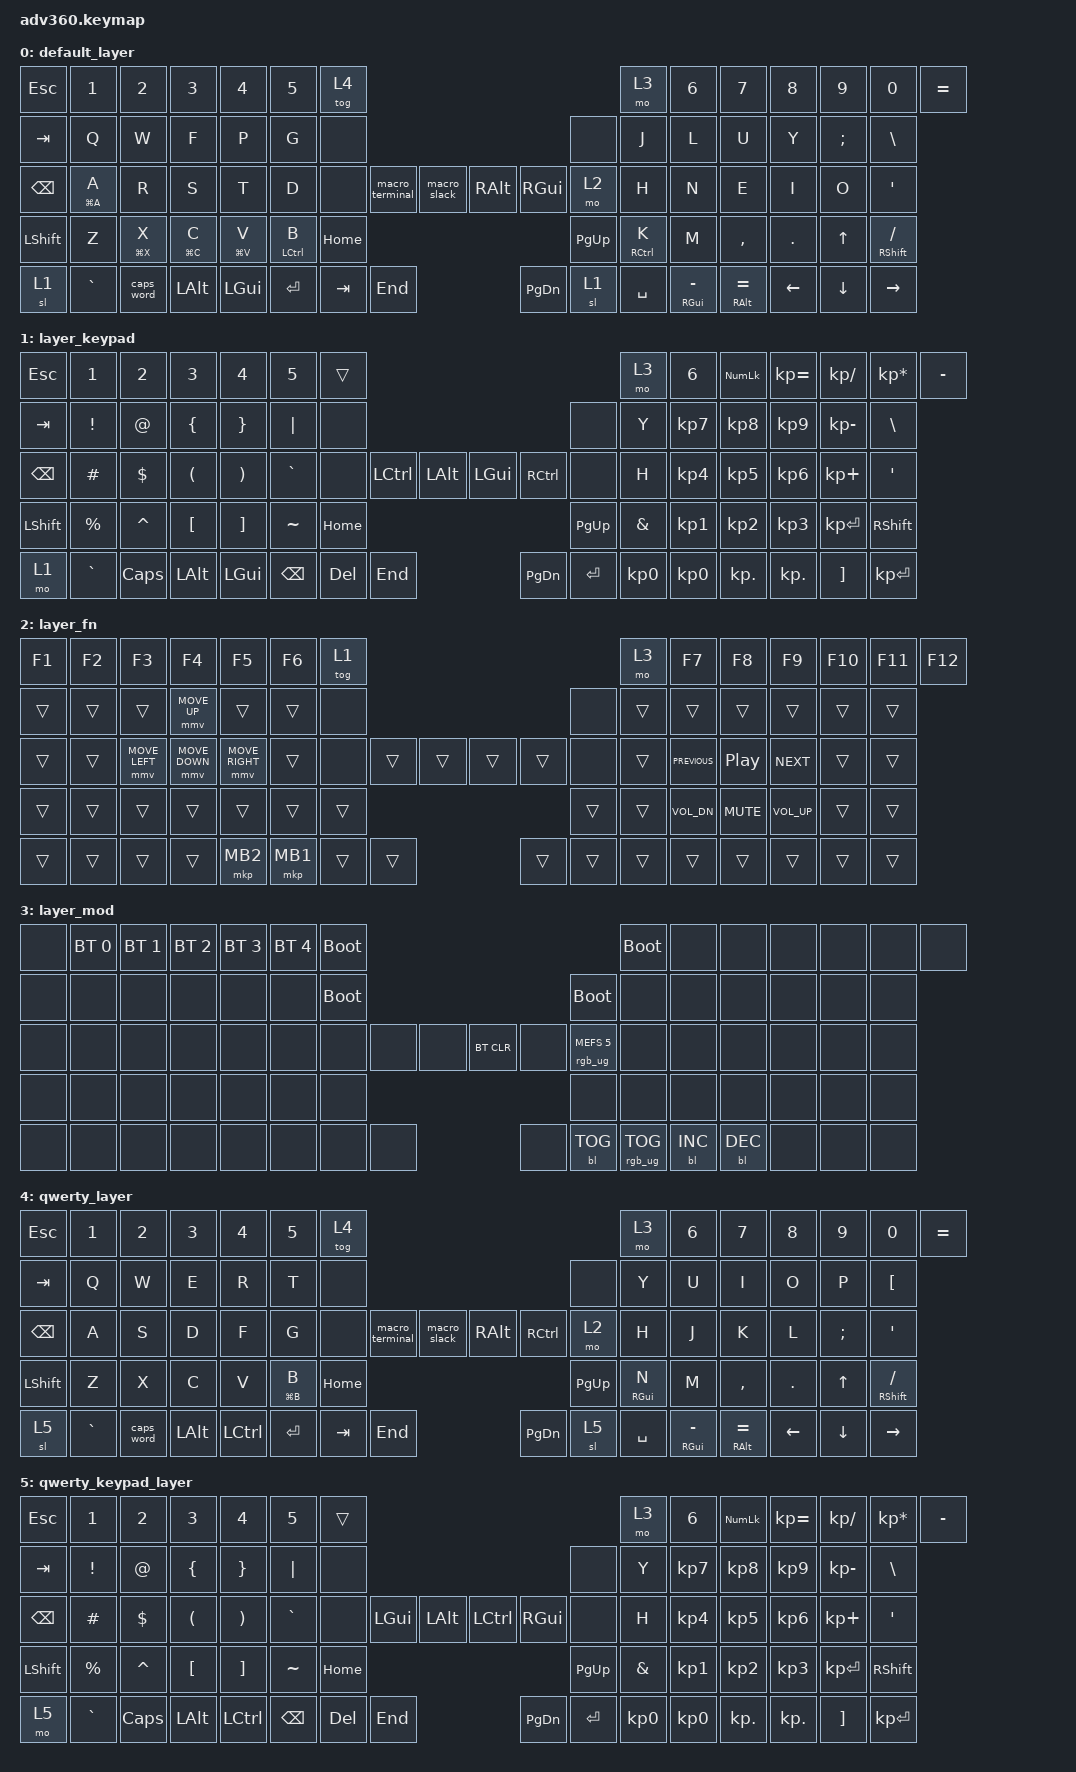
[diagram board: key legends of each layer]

/*
 * Copyright (c) 2020 The ZMK Contributors
 *
 * SPDX-License-Identifier: MIT
 */


/* THIS FILE WAS GENERATED!
 *
 * This file was generated automatically. You may or may not want to
 * edit it directly.
 */

#include <behaviors.dtsi>
#include <dt-bindings/zmk/keys.h>
#include <dt-bindings/zmk/bt.h>
#include <dt-bindings/zmk/rgb.h>
#define ZMK_POINTING_DEFAULT_MOVE_VAL 1200
#include <dt-bindings/zmk/stp.h>
#include <dt-bindings/zmk/backlight.h>
#include <dt-bindings/zmk/pointing.h>

/* Double the default cursor maximum speed with kinetic-style acceleration. */
&mmv {
    delay-ms = <0>;
    trigger-period-ms = <16>;
    time-to-max-speed-ms = <425>;
    acceleration-exponent = <2>;
};

/ {
  behaviors {
    #include "macros.dtsi"
    #include "version.dtsi"

    hm: homerow_mods {
        compatible = "zmk,behavior-hold-tap";
        label = "HOMEROW_MODS";
        #binding-cells = <2>;
        tapping-term-ms = <200>;
        quick_tap_ms = <175>;
        require-prior-idle-ms = <125>;
        flavor = "tap-preferred";
        bindings = <&kp>, <&kp>;
    };
    extra1 { 
      display-name = "Red";    
      status = "reserved";
    };

    extra2 { 
      display-name = "Purple";    
      status = "reserved";
    };

    extra3 { 
      display-name = "Cyan";    
      status = "reserved";
    };

    extra4 { 
      display-name = "Yellow";    
      status = "reserved";
    };
  };

    keymap {
        compatible = "zmk,keymap";


        default_layer {
            bindings = <
       &kp ESC       &kp N1       &kp N2        &kp N3        &kp N4       &kp N5               &tog 4                                                                                   &mo 3       &kp N6               &kp N7               &kp N8    &kp N9         &kp N0         &kp EQUAL
       &kp TAB        &kp Q        &kp W         &kp F         &kp P        &kp G                &none                                                                                   &none         &kp J                &kp L                &kp U     &kp Y  &kp SEMICOLON          &kp BSLH
 &kp BACKSPACE  &hm LG(A) A        &kp R         &kp S         &kp T        &kp D                &none  &macro_terminal  &macro_slack                  &kp RIGHT_ALT  &kp RIGHT_GUI      &mo 2        &kp H                &kp N                &kp E     &kp I          &kp O           &kp SQT
     &kp LSHFT        &kp Z  &hm LG(X) X   &hm LG(C) C   &hm LG(V) V  &hm LCTRL B                                            &kp HOME                      &kp PG_UP                            &mt RCTRL K                &kp M            &kp COMMA   &kp DOT         &kp UP  &mt RSHIFT SLASH
         &sl 1    &kp GRAVE   &caps_word  &kp LEFT_ALT  &kp LEFT_GUI                         &kp ENTER          &kp TAB       &kp END                      &kp PG_DN          &sl 1  &kp SPACE               &mt RIGHT_GUI MINUS  &mt RIGHT_ALT EQUAL  &kp LEFT       &kp DOWN         &kp RIGHT
            >;
        };

        layer_keypad {
            bindings = <
    &kp ESCAPE           &kp N1       &kp N2                &kp N3                 &kp N4     &kp N5              &trans                                                                 &mo 3         &kp N6  &kp KP_NUM  &kp KP_EQUAL  &kp KP_DIVIDE  &kp KP_MULTIPLY     &kp MINUS
       &kp TAB  &kp EXCLAMATION  &kp AT_SIGN        &kp LEFT_BRACE        &kp RIGHT_BRACE   &kp PIPE               &none                                                                 &none          &kp Y   &kp KP_N7     &kp KP_N8      &kp KP_N9     &kp KP_MINUS      &kp BSLH
 &kp BACKSPACE        &kp POUND   &kp DOLLAR  &kp LEFT_PARENTHESIS  &kp RIGHT_PARENTHESIS  &kp GRAVE               &none  &kp LCTRL  &kp LALT                   &kp LGUI  &kp RCTRL      &none          &kp H   &kp KP_N4     &kp KP_N5      &kp KP_N6      &kp KP_PLUS       &kp SQT
     &kp LSHFT      &kp PERCENT    &kp CARET      &kp LEFT_BRACKET      &kp RIGHT_BRACKET  &kp TILDE                                 &kp HOME                  &kp PG_UP                        &kp AMPERSAND   &kp KP_N1     &kp KP_N2      &kp KP_N3     &kp KP_ENTER     &kp RSHFT
         &mo 1        &kp GRAVE     &kp CAPS          &kp LEFT_ALT           &kp LEFT_GUI                       &kp BSPC    &kp DEL   &kp END                  &kp PG_DN  &kp ENTER  &kp KP_N0                  &kp KP_N0    &kp KP_DOT     &kp KP_DOT         &kp RBKT  &kp KP_ENTER
            >;
        };

        layer_fn {
            bindings = <
 &kp F1  &kp F2  &kp F3           &kp F4  &kp F5  &kp F6            &tog 1                                                   &mo 3  &kp F7          &kp F8            &kp F9       &kp F10  &kp F11  &kp F12
 &trans  &trans  &trans     &mmv MOVE_UP  &trans  &trans             &none                                                   &none  &trans          &trans            &trans        &trans   &trans   &trans
 &trans  &trans  &mmv MOVE_LEFT &mmv MOVE_DOWN  &mmv MOVE_RIGHT  &trans             &none  &trans  &trans                  &trans  &trans   &none  &trans  &kp C_PREVIOUS  &kp C_PLAY_PAUSE    &kp C_NEXT   &trans   &trans
 &trans  &trans  &trans  &trans           &trans  &trans                            &trans                  &trans                  &trans    &kp C_VOL_DN        &kp C_MUTE  &kp C_VOL_UP   &trans   &trans
 &trans  &trans  &trans           &trans  &mkp MB2                    &mkp MB1  &trans  &trans                  &trans  &trans  &trans                  &trans            &trans        &trans   &trans   &trans
            >;
        };

        layer_mod {
            bindings = <
  &none  &bt BT_SEL 0  &bt BT_SEL 1  &bt BT_SEL 2  &bt BT_SEL 3  &bt BT_SEL 4                  &bootloader                                                                     &bootloader   &none       &none       &none   &none   &none   &none
  &none         &none         &none         &none         &none         &none            &bootloader                                                                     &bootloader   &none       &none       &none   &none   &none   &none
  &none         &none         &none         &none         &none         &none                  &none   &none   &none                  &bt BT_CLR       &none  &rgb_ug RGB_MEFS_CMD 5   &none       &none       &none   &none   &none   &none
  &none         &none         &none         &none         &none         &none                                  &none                       &none                                       &none       &none       &none   &none   &none   &none
  &none         &none         &none         &none         &none                                &none   &none   &none                       &none  &bl BL_TOG         &rgb_ug RGB_TOG          &bl BL_INC  &bl BL_DEC   &none   &none   &none
            >;
        };

        qwerty_layer {
            bindings = <
                &kp ESC  &kp N1  &kp N2  &kp N3  &kp N4  &kp N5  &tog 4  &mo 3  &kp N6  &kp N7  &kp N8  &kp N9  &kp N0  &kp EQUAL
                &kp TAB  &kp Q  &kp W  &kp E  &kp R  &kp T  &none  &none  &kp Y  &kp U  &kp I  &kp O  &kp P  &kp LBKT
                &kp BACKSPACE  &kp A  &kp S  &kp D  &kp F  &kp G  &none  &macro_terminal  &macro_slack  &kp RIGHT_ALT  &kp RCTRL  &mo 2  &kp H  &kp J  &kp K  &kp L  &kp SEMICOLON  &kp SQT
                &kp LSHFT  &kp Z  &kp X  &kp C  &kp V  &hm LG(B) B  &kp HOME  &kp PG_UP  &mt RIGHT_GUI N  &kp M  &kp COMMA  &kp DOT  &kp UP  &mt RSHIFT SLASH
                &sl 5  &kp GRAVE  &caps_word  &kp LEFT_ALT  &kp LCTRL  &kp ENTER  &kp TAB  &kp END  &kp PG_DN  &sl 5  &kp SPACE  &mt RIGHT_GUI MINUS  &mt RIGHT_ALT EQUAL  &kp LEFT  &kp DOWN  &kp RIGHT
            >;
        };
        qwerty_keypad_layer {
            bindings = <
                &kp ESCAPE  &kp N1  &kp N2  &kp N3  &kp N4  &kp N5  &trans  &mo 3  &kp N6  &kp KP_NUM  &kp KP_EQUAL  &kp KP_DIVIDE  &kp KP_MULTIPLY  &kp MINUS
                &kp TAB  &kp EXCLAMATION  &kp AT_SIGN  &kp LEFT_BRACE  &kp RIGHT_BRACE  &kp PIPE  &none  &none  &kp Y  &kp KP_N7  &kp KP_N8  &kp KP_N9  &kp KP_MINUS  &kp BSLH
                &kp BACKSPACE  &kp POUND  &kp DOLLAR  &kp LEFT_PARENTHESIS  &kp RIGHT_PARENTHESIS  &kp GRAVE  &none  &kp LGUI  &kp LALT  &kp LCTRL  &kp RIGHT_GUI  &none  &kp H  &kp KP_N4  &kp KP_N5  &kp KP_N6  &kp KP_PLUS  &kp SQT
                &kp LSHFT  &kp PERCENT  &kp CARET  &kp LEFT_BRACKET  &kp RIGHT_BRACKET  &kp TILDE  &kp HOME  &kp PG_UP  &kp AMPERSAND  &kp KP_N1  &kp KP_N2  &kp KP_N3  &kp KP_ENTER  &kp RSHFT
                &mo 5  &kp GRAVE  &kp CAPS  &kp LEFT_ALT  &kp LCTRL  &kp BSPC  &kp DEL  &kp END  &kp PG_DN  &kp ENTER  &kp KP_N0  &kp KP_N0  &kp KP_DOT  &kp KP_DOT  &kp RBKT  &kp KP_ENTER
            >;
        };

    };
};
